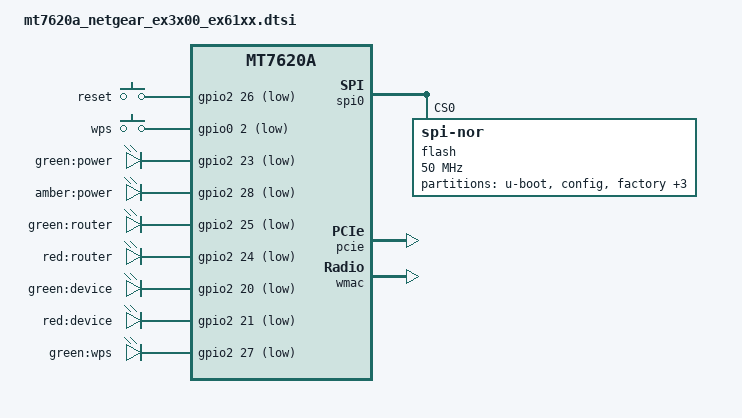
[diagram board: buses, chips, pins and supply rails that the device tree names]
#include "mt7620a.dtsi"

#include <dt-bindings/gpio/gpio.h>
#include <dt-bindings/input/input.h>

/ {
	aliases {
		led-boot = &led_power_amber;
		led-failsafe = &led_power_amber;
		led-running = &led_power_green;
		led-upgrade = &led_power_green;
	};

	keys {
		compatible = "gpio-keys";

		reset {
			label = "reset";
			gpios = <&gpio2 26 GPIO_ACTIVE_LOW>;
			linux,code = <KEY_RESTART>;
		};

		wps {
			label = "wps";
			gpios = <&gpio0 2 GPIO_ACTIVE_LOW>;
			linux,code = <KEY_WPS_BUTTON>;
		};
	};

	leds {
		compatible = "gpio-leds";

		led_power_green: power_green {
			label = "green:power";
			gpios = <&gpio2 23 GPIO_ACTIVE_LOW>;
			default-state = "on";
		};

		led_power_amber: power_amber {
			label = "amber:power";
			gpios = <&gpio2 28 GPIO_ACTIVE_LOW>;
		};

		router_green {
			label = "green:router";
			gpios = <&gpio2 25 GPIO_ACTIVE_LOW>;
		};

		router_red {
			label = "red:router";
			gpios = <&gpio2 24 GPIO_ACTIVE_LOW>;
		};

		device_green {
			label = "green:device";
			gpios = <&gpio2 20 GPIO_ACTIVE_LOW>;
		};

		device_red {
			label = "red:device";
			gpios = <&gpio2 21 GPIO_ACTIVE_LOW>;
		};

		wps {
			label = "green:wps";
			gpios = <&gpio2 27 GPIO_ACTIVE_LOW>;
		};
	};
};

&gpio2 {
	status = "okay";
};

&spi0 {
	status = "okay";

	flash@0 {
		compatible = "jedec,spi-nor";
		reg = <0>;
		spi-max-frequency = <50000000>;

		partitions {
			compatible = "fixed-partitions";
			#address-cells = <1>;
			#size-cells = <1>;

			partition@0 {
				label = "u-boot";
				reg = <0x0 0x30000>;
				read-only;
			};

			partition@30000 {
				label = "config";
				reg = <0x30000 0x10000>;
				read-only;
			};

			factory: partition@40000 {
				label = "factory";
				reg = <0x40000 0x10000>;
				read-only;
			};

			partition@50000 {
				compatible = "denx,uimage";
				label = "firmware";
				reg = <0x50000 0x790000>;
			};

			partition@7e0000 {
				label = "board_data";
				reg = <0x7e0000 0x10000>;
				read-only;
			};

			partition@7f0000 {
				label = "nvram";
				reg = <0x7f0000 0x10000>;
				read-only;
			};
		};
	};
};

&pcie {
	status = "okay";
};

&pcie0 {
	mt76@0,0 {
		reg = <0x0000 0 0 0 0>;
		mediatek,mtd-eeprom = <&factory 0x8000>;
		ieee80211-freq-limit = <5000000 6000000>;
	};
};

&ethernet {
	mtd-mac-address = <&factory 0x28>;
};

&wmac {
	ralink,mtd-eeprom = <&factory 0x0>;
};

&state_default {
	default {
		groups = "i2c", "rgmii2", "spi refclk";
		function = "gpio";
	};
};
